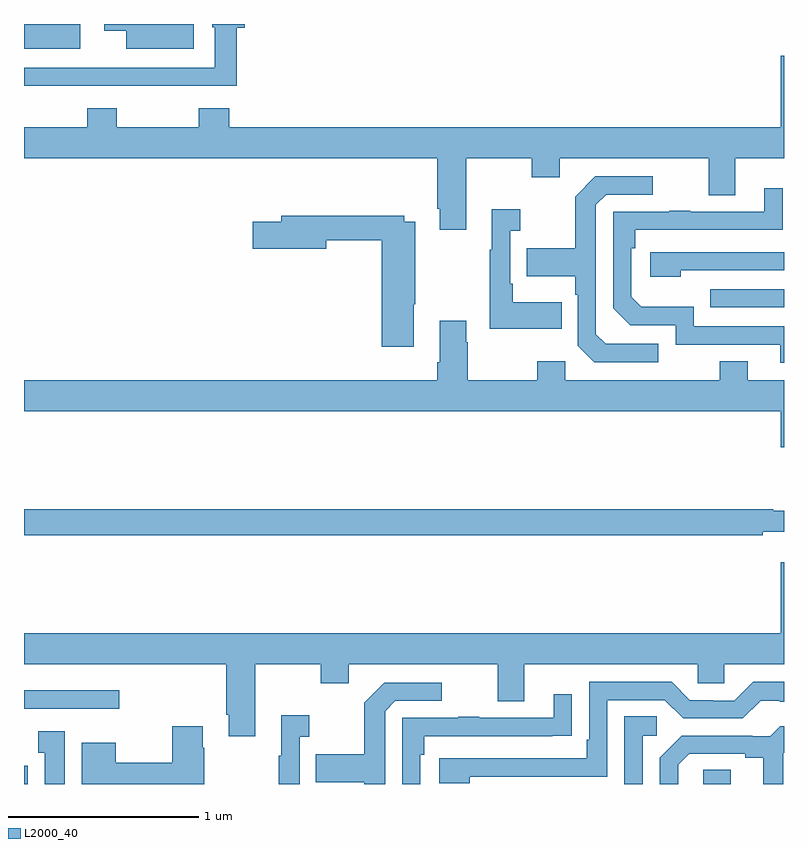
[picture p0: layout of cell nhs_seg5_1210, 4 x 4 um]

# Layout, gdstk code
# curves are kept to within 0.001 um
import gdstk
lib = gdstk.Library(unit=1e-6, precision=1e-09)
def R(c, l, rs):  # rectangles x0, y0, x1, y1
    for r in rs: c.add(gdstk.rectangle(r[:2], r[2:], *l))
def P(c, l, *ps):  # polygons
    for p in ps: c.add(gdstk.Polygon(p, *l))
L2000_40 = (2000, 40)

nhs_seg5_1210 = lib.new_cell('nhs_seg5_1210')
R(nhs_seg5_1210, L2000_40, [(185,854.799,185.02,854.896), (188.574,854.799,188.719,854.873), (185,855.195,185.5,855.292), (188.611,857.307,189,857.403), (185,858.668,185.296,858.799)])
P(nhs_seg5_1210, L2000_40, [(185.893,858.799),(185.423,858.799),(185.423,858.764),(185.537,858.764),(185.537,858.668),(185.893,858.668)],
  [(185.243,858.474),(185.575,858.474),(185.575,858.473),(185.831,858.473),(185.831,858.474),(186.119,858.474),(186.119,858.779),(186.161,858.779),(186.161,858.799),(185.99,858.799),(185.99,858.783),(186.003,858.783),(186.003,858.57),(185,858.57),(185,858.473),(185.243,858.473)],
  [(187.327,858.092),(187.672,858.092),(187.672,857.993),(187.819,857.993),(187.819,858.092),(188.603,858.092),(188.603,857.898),(188.743,857.898),(188.743,858.092),(189,858.092),(189,858.631),(188.984,858.631),(188.984,858.256),(186.08,858.256),(186.08,858.355),(185.92,858.355),(185.92,858.256),(185.487,858.256),(185.487,858.355),(185.332,858.355),(185.332,858.256),(185,858.256),(185,858.092),(187.175,858.092),(187.175,857.827),(187.187,857.827),(187.187,857.715),(187.327,857.715)],
  [(188.338,857.115),(188.061,857.115),(188.01,857.166),(188.01,857.847),(188.064,857.901),(188.308,857.901),(188.308,857.997),(188.007,857.997),(187.902,857.891),(187.902,857.619),(187.645,857.619),(187.645,857.471),(187.902,857.471),(187.902,857.375),(187.914,857.375),(187.914,857.106),(188.001,857.019),(188.338,857.019)],
  [(189,857.208),(188.526,857.208),(188.526,857.311),(188.249,857.311),(188.196,857.364),(188.196,857.618),(188.216,857.618),(188.216,857.715),(188.993,857.716),(188.993,857.935),(188.897,857.935),(188.897,857.811),(188.507,857.811),(188.507,857.816),(188.395,857.816),(188.395,857.811),(188.1,857.811),(188.1,857.304),(188.19,857.214),(188.43,857.214),(188.43,857.112),(188.981,857.112),(188.981,857.016),(189,857.016)],
  [(187.829,857.335),(187.573,857.335),(187.573,857.431),(187.56,857.431),(187.56,857.711),(187.612,857.711),(187.612,857.824),(187.463,857.824),(187.463,857.611),(187.452,857.611),(187.452,857.195),(187.829,857.195)],
  [(187.051,857.323),(187.059,857.323),(187.059,857.758),(187.002,857.758),(187.002,857.791),(186.353,857.791),(186.353,857.757),(186.204,857.757),(186.204,857.615),(186.592,857.615),(186.592,857.662),(186.884,857.662),(186.884,857.1),(187.051,857.1)],
  [(188.456,857.502),(189,857.502),(189,857.598),(188.295,857.598),(188.295,857.468),(188.456,857.468)],
  [(189,856.924),(188.809,856.924),(188.809,857.023),(188.662,857.023),(188.662,856.924),(187.848,856.924),(187.848,857.023),(187.702,857.023),(187.702,856.924),(187.335,856.924),(187.335,857.123),(187.327,857.123),(187.327,857.236),(187.187,857.236),(187.187,857.02),(187.175,857.02),(187.175,856.924),(185,856.924),(185,856.76),(188.984,856.76),(188.984,856.572),(189,856.572)],
  [(188.888,856.127),(189,856.127),(189,856.237),(188.944,856.237),(188.944,856.244),(185,856.244),(185,856.108),(188.888,856.108)],
  [(186.217,855.428),(186.562,855.428),(186.562,855.329),(186.709,855.329),(186.709,855.428),(187.493,855.428),(187.493,855.234),(187.633,855.234),(187.633,855.428),(188.547,855.428),(188.547,855.33),(188.685,855.33),(188.685,855.428),(189,855.428),(189,855.967),(188.984,855.967),(188.984,855.592),(185,855.592),(185,855.428),(186.065,855.428),(186.065,855.163),(186.077,855.163),(186.077,855.051),(186.217,855.051)],
  [(187.346,854.838),(188.07,854.838),(188.07,855.24),(188.373,855.24),(188.469,855.144),(188.784,855.144),(188.877,855.237),(188.977,855.237),(188.977,855.233),(189,855.233),(189,855.337),(188.839,855.337),(188.739,855.237),(188.624,855.237),(188.624,855.24),(188.505,855.24),(188.409,855.336),(187.974,855.336),(187.974,855.031),(187.961,855.031),(187.961,854.934),(187.185,854.934),(187.185,854.804),(187.346,854.804)],
  [(186.9,855.183),(186.954,855.237),(187.198,855.237),(187.198,855.333),(186.897,855.333),(186.792,855.227),(186.792,854.955),(186.535,854.955),(186.535,854.807),(186.792,854.807),(186.792,854.799),(186.9,854.799)],
  [(187.086,854.954),(187.106,854.954),(187.106,855.051),(187.781,855.051),(187.781,855.052),(187.883,855.052),(187.883,855.271),(187.787,855.271),(187.787,855.147),(187.397,855.147),(187.397,855.152),(187.285,855.152),(187.285,855.147),(186.99,855.147),(186.99,854.799),(187.086,854.799)],
  [(186.45,855.047),(186.502,855.047),(186.502,855.16),(186.353,855.16),(186.353,854.947),(186.342,854.947),(186.342,854.799),(186.45,854.799)],
  [(188.256,855.054),(188.329,855.054),(188.329,855.155),(188.16,855.155),(188.16,854.799),(188.256,854.799)],
  [(185.949,854.99),(185.941,854.99),(185.941,855.103),(185.779,855.103),(185.779,854.912),(185.482,854.912),(185.482,855.016),(185.303,855.016),(185.303,854.799),(185.949,854.799)],
  [(188.443,854.901),(188.5,854.958),(188.795,854.958),(188.795,854.936),(188.891,854.936),(188.891,854.799),(188.995,854.799),(188.995,854.959),(189,854.964),(189,855.103),(188.98,855.103),(188.928,855.051),(188.834,855.051),(188.834,855.054),(188.462,855.054),(188.346,854.938),(188.346,854.799),(188.443,854.799)],
  [(185.215,855.076),(185.075,855.076),(185.075,854.963),(185.108,854.963),(185.108,854.799),(185.215,854.799)])

lib.write_gds('nhs_seg5_1210.gds')
